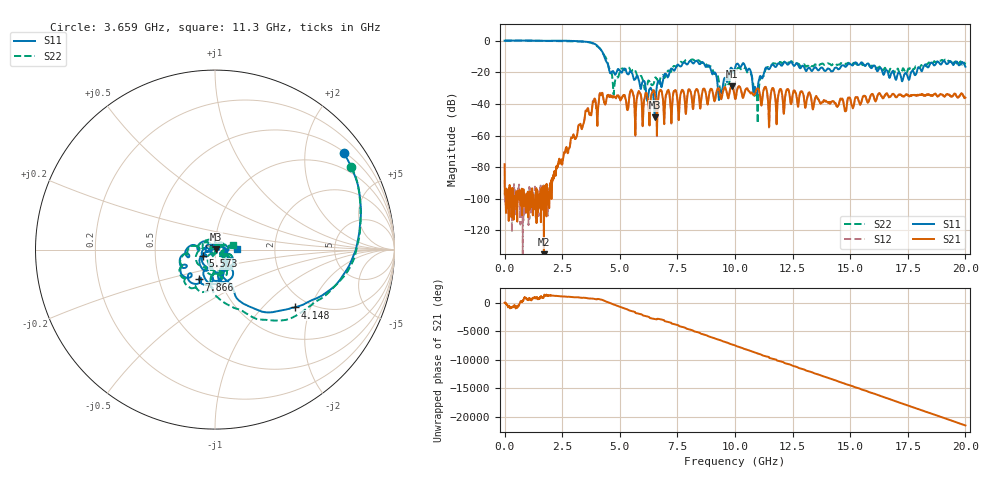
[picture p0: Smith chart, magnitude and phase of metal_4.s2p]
#  HZ  S  RI  R  50.00
! Rohde & Schwarz Vector Network Analyzer
! Rohde-Schwarz,ZNB20-2Port,1311601062102128,3.60
! Created: UTC 4/29/2024, 2:40:31 PM
! freq[Hz]  re:S11  im:S11  re:S21  im:S21  re:S12  im:S12  re:S22  im:S22
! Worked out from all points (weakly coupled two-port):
!   2007 points, 100 kHz to 20 GHz, reference 50 ohm
!   highest |S21| = -28.79 dB at 9.85 GHz (marker M1); lowest = -135.3 dB at 1.705 GHz (marker M2)
!   lowest |S11| = -48.5 dB at 6.521 GHz (marker M3), VSWR 1.01, Z = 50.4 + j0.0667 ohm
!   |S11| at or under -10 dB: 4.325 GHz to end of sweep
!   |S22| runs from -52.2 to 0.1 dB; largest |S21 - S12| = 0.0017
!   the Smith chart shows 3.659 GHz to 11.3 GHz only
!   S11 on the Smith chart (normalised r, x): 3.659 GHz: 0.53, +2.92; 4.148 GHz: 1.69, -1.56; 5.573 GHz: 0.87, -0.06; 7.866 GHz: 0.79, -0.27; 11.3 GHz: 1.27, +0.01
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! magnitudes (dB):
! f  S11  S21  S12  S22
! 100 kHz  0.0  -78.1  -88.2  0.1
! 1.705 GHz  -0.1  -135.3  -94.0  -0.2
! 2.243 GHz  0.0  -79.4  -81.9  -0.3
! 3.34 GHz  -0.6  -55.8  -55.5  -0.6
! 3.659 GHz  -0.9  -45.4  -45.5  -1.0
! 4.148 GHz  -5.2  -33.3  -33.0  -5.1
! 4.756 GHz  -20.5  -35.7  -35.7  -30.2
! 5.573 GHz  -22.6  -34.0  -33.9  -18.4
! 6.521 GHz  -48.5  -33.7  -33.6  -24.2
! 6.67 GHz  -25.8  -36.3  -36.4  -26.8
! 7.866 GHz  -14.5  -46.4  -46.6  -12.2
! 8.863 GHz  -15.7  -35.2  -35.2  -16.6
! 9.362 GHz  -33.1  -35.5  -35.5  -32.9
! 9.85 GHz  -17.3  -28.8  -28.8  -20.4
! 10 GHz  -17.4  -36.7  -36.6  -20.4
! 10.65 GHz  -18.2  -32.7  -32.7  -20.8
! 10.93 GHz  -31.9  -30.9  -30.9  -33.0
! 11.3 GHz  -18.4  -29.4  -29.5  -19.5
! 11.48 GHz  -18.1  -54.6  -55.0  -17.0
! 13.34 GHz  -19.2  -39.7  -39.8  -16.0
! 16.67 GHz  -22.2  -35.4  -35.4  -20.3
! 20 GHz  -16.5  -36.1  -36.0  -13.8
